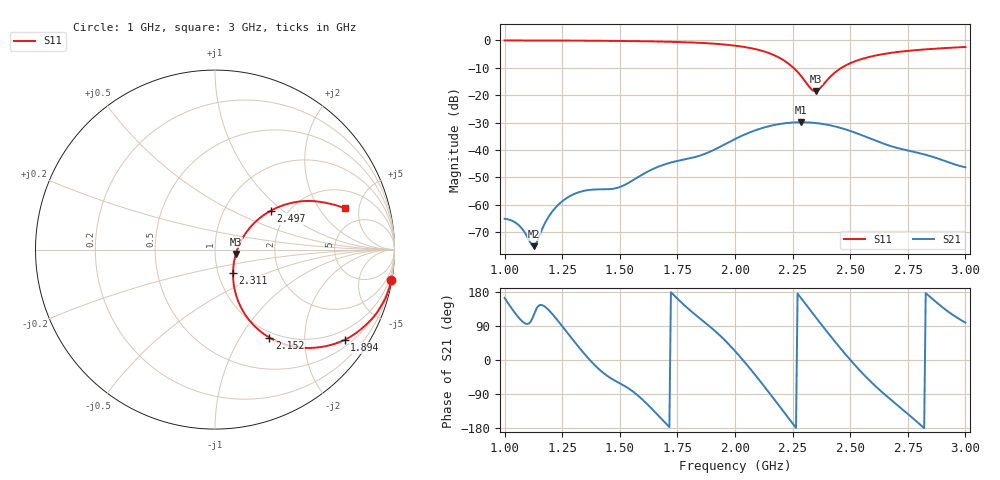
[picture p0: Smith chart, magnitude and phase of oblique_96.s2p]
! TOUCHSTONE file generated by CST MICROWAVE STUDIO
! Date and time: Tue Mar 18 00:01:43 2025
! Project name: oblique.cst
! Parameters = {Tilt=30; Fracture=1; B=12.5; D=160; F=25; Feed=2.85625; L=100; M=30; R=0.384908; S=1; Theta=270; length=57.125; wave=114.25}
! Header version: 2024
! Port assignment regex: !\s*Touchstone port\s*([0-9]+)\s*=\s*(CST MWS port|CST DES external port|CST DES block port)\s*(.+)\s* \(\"(.*)\"\)(\s*mode\s*([0-9]+))?.*
! Touchstone port assignment:
! Touchstone port 1 = CST MWS port 1 ("")
! Touchstone port 2 = CST MWS port 2 ("")
# GHz S DB R 50
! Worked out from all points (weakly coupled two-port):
!   303 points, 1 GHz to 3 GHz, reference 50 ohm
!   highest |S21| = -29.87 dB at 2.285 GHz (marker M1); lowest = -75.1 dB at 1.126 GHz (marker M2)
!   lowest |S11| = -18.5 dB at 2.351 GHz (marker M3), VSWR 1.27, Z = 63.1 - j3.04 ohm
!   |S11| at or under -10 dB: 2.254 GHz to 2.462 GHz (208.8 MHz wide, 8.85 % of centre)
!   S12 and S22 are empty: the file has one direction only
!   S11 on the Smith chart (normalised r, x): 1 GHz: 0, -12; 1.894 GHz: 0.68, -3.04; 2.152 GHz: 0.92, -1.35; 2.311 GHz: 1.18, -0.31; 2.497 GHz: 1.64, +0.83; 3 GHz: 3.28, +3.53
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1  -0.02 -9.8  -65.09 163.9  -200.00 0.0  -200.00 0.0
1.0596  -0.03 -10.6  -67.30 112.9  -200.00 0.0  -200.00 0.0
1.12583  -0.03 -11.6  -75.08 117.7  -200.00 0.0  -200.00 0.0
1.13907  -0.04 -11.8  -73.72 136.6  -200.00 0.0  -200.00 0.0
1.17881  -0.05 -12.4  -66.10 138.9  -200.00 0.0  -200.00 0.0
1.21854  -0.06 -13.1  -61.24 113.1  -200.00 0.0  -200.00 0.0
1.27152  -0.07 -14.0  -57.40 72.5  -200.00 0.0  -200.00 0.0
1.33775  -0.10 -15.3  -55.01 22.4  -200.00 0.0  -200.00 0.0
1.49669  -0.20 -18.9  -53.60 -60.3  -200.00 0.0  -200.00 0.0
1.66887  -0.41 -24.2  -46.02 -147.6  -200.00 0.0  -200.00 0.0
1.89404  -1.11 -34.9  -40.52 86.7  -200.00 0.0  -200.00 0.0
2  -1.92 -42.6  -35.99 23.8  -200.00 0.0  -200.00 0.0
2.15232  -4.78 -58.2  -31.21 -89.5  -200.00 0.0  -200.00 0.0
2.22517  -8.05 -65.1  -30.15 -147.5  -200.00 0.0  -200.00 0.0
2.28477  -12.77 -62.5  -29.87 164.8  -200.00 0.0  -200.00 0.0
2.31126  -15.69 -52.3  -29.91 143.7  -200.00 0.0  -200.00 0.0
2.33775  -18.23 -28.2  -30.05 122.8  -200.00 0.0  -200.00 0.0
2.35099  -18.50 -11.5  -30.16 112.3  -200.00 0.0  -200.00 0.0
2.43709  -11.50 34.2  -31.46 46.2  -200.00 0.0  -200.00 0.0
2.49669  -8.46 34.9  -32.94 3.0  -200.00 0.0  -200.00 0.0
2.66887  -4.65 27.6  -38.37 -100.8  -200.00 0.0  -200.00 0.0
3  -2.41 17.6  -46.27 98.7  -200.00 0.0  -200.00 0.0
